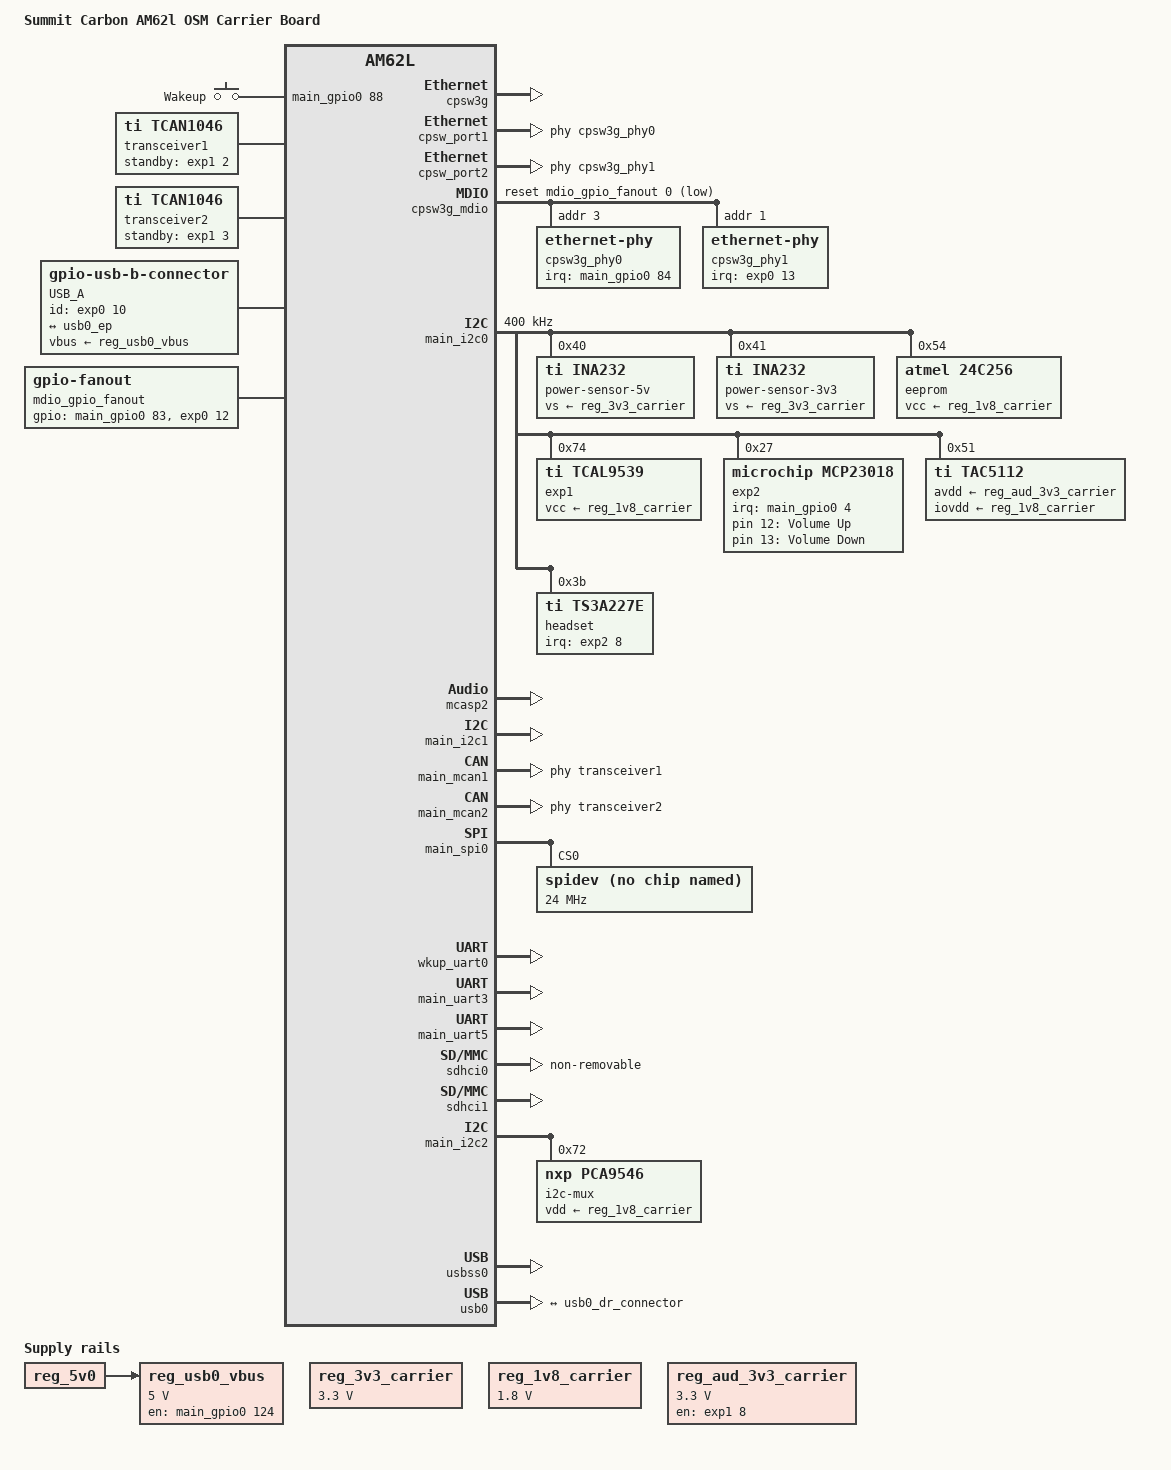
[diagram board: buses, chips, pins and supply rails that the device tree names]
// SPDX-License-Identifier: GPL-2.0-or-later OR MIT
/*
 * Copyright 2026 Ezurio LLC
 *
 */

/dts-v1/;

#include <dt-bindings/leds/common.h>
#include <dt-bindings/input/input.h>
#include <dt-bindings/net/ti-dp83867.h>

#include "k3-am62l-carbon-som.dtsi"

/ {
	model = "Summit Carbon AM62l OSM Carrier Board";
	compatible = "summit,carbon-am62l-dvk", "summit,carbon-am62l", "ti,am62l3";

	aliases {
		gpio4 = &exp1;
		gpio5 = &exp2;
	};

	reg_3v3_carrier: regulator-3v3-carrier {
		/* output 2 of U4 */
		compatible = "regulator-fixed";
		regulator-name = "reg_3v3_carrier";
		regulator-min-microvolt = <3300000>;
		regulator-max-microvolt = <3300000>;
		regulator-always-on;
		regulator-boot-on;
	};

	reg_1v8_carrier: regulator-1v8-carrier {
		/* output 3 of U4 */
		compatible = "regulator-fixed";
		regulator-name = "reg_1v8_carrier";
		regulator-min-microvolt = <1800000>;
		regulator-max-microvolt = <1800000>;
		regulator-always-on;
		regulator-boot-on;
	};

	reg_aud_3v3_carrier: regulator-aud-3v3-carrier {
		compatible = "regulator-fixed";
		regulator-name = "reg_aud_3v3_carrier";
		regulator-min-microvolt = <3300000>;
		regulator-max-microvolt = <3300000>;
		gpios = <&exp1 8 GPIO_ACTIVE_HIGH>;
		enable-active-high;
		regulator-always-on;
	};

	reg_usb0_vbus: regulator-usb0-vbus {
		compatible = "regulator-fixed";
		regulator-name = "reg_usb0_vbus";
		regulator-max-microvolt = <5000000>;
		regulator-min-microvolt = <5000000>;
		vin-supply = <&reg_5v0>;
		pinctrl-names = "default";
		pinctrl-0 = <&main_usb0_en_pins_default>;
		gpios = <&main_gpio0 124 GPIO_ACTIVE_HIGH>;
		enable-active-high;
	};

	codec_audio: sound {
		compatible = "simple-audio-card";

		simple-audio-card,bitclock-master = <&dailink0_master>;
		simple-audio-card,frame-master = <&dailink0_master>;

		simple-audio-card,name = "ti,tac5x1x-soundcard";
		simple-audio-card,format = "i2s";

		simple-audio-card,widgets =
			"Headphone", "Headphone Jack",
			"Line",      "Line In",
			"Line",      "Line Out";

		simple-audio-card,routing =
			"Headphone Jack", "OUT1",
			"Headphone Jack", "OUT2",
			"AIN1", "Line In",
			"AIN2", "Line In",
			"Line Out", "OUT1",
			"Line Out", "OUT2";

		simple-audio-card,aux-devs = <&headset>;

		dailink0_master: simple-audio-card,cpu {
			sound-dai = <&mcasp2>;
			bitclock-master;
			frame-master;
			system-clock-direction-out;
		};

		simple-audio-card,codec {
			sound-dai = <&tac5112>;
		};
	};

	dvk_keys {
		compatible = "gpio-keys";

		pinctrl-names = "default";
		pinctrl-0 = <&osm_gpio_a_7_pins_default>;

		volume-up {
			label = "Volume Up";
			interrupts-extended = <&exp2 12 IRQ_TYPE_EDGE_FALLING>;
			interrupt-names = "irq";
			linux,code = <KEY_VOLUMEUP>;

			//gpios = <&exp2 12 (GPIO_ACTIVE_LOW | GPIO_PULL_UP)>;
			//wakeup-event-action = <EV_ACT_ASSERTED>;
		};

		volume-down {
			label = "Volume Down";
			interrupts-extended = <&exp2 13 IRQ_TYPE_EDGE_FALLING>;
			interrupt-names = "irq";
			linux,code = <KEY_VOLUMEDOWN>;

			//gpios = <&exp2 13 (GPIO_ACTIVE_LOW | GPIO_PULL_UP)>;
			//wakeup-event-action = <EV_ACT_ASSERTED>;
		};

		wakeup {
			label = "Wakeup";
			interrupts-extended = <&main_gpio0 88 IRQ_TYPE_EDGE_FALLING>;
			interrupt-names = "irq";
			linux,code = <KEY_WAKEUP>;
			wakeup-source;

			//gpios = <&mcu_gpio0 1 GPIO_ACTIVE_LOW>;
			//wakeup-event-action = <EV_ACT_ASSERTED>;
		};
	};

	transceiver1: can-phy0 {
		compatible = "ti,tcan1046", "ti,tcan1042";
		#phy-cells = <0>;
		max-bitrate = <8000000>;
		standby-gpios = <&exp1 2 GPIO_ACTIVE_HIGH>; /* TCAN1046 STB is active HIGH */
	};

	transceiver2: can-phy1 {
		compatible = "ti,tcan1046", "ti,tcan1042";
		#phy-cells = <0>;
		max-bitrate = <8000000>;
		standby-gpios = <&exp1 3 GPIO_ACTIVE_HIGH>; /* TCAN1046 STB is active HIGH */
	};

	con_usb0: connector-usb0 {
		compatible = "gpio-usb-b-connector", "usb-c-connector";

		label = "USB_A";
		self-powered;

		id-gpios = <&exp0 10 GPIO_ACTIVE_HIGH>;

		vbus-supply = <&reg_usb0_vbus>;

		port {
			usb0_dr_connector: endpoint {
				remote-endpoint = <&usb0_ep>;
			};
		};
	};

	mdio_gpio_fanout: mdio-gpio-fanout {
		compatible = "gpio-fanout";
		gpio-controller;
		#gpio-cells = <2>;

		pinctrl-names = "default";
		pinctrl-0 = <&main_rgmii_phy0_rst_pins_default>;
		gpios = <&main_gpio0 83 GPIO_ACTIVE_HIGH>,
		        <&exp0 12 GPIO_ACTIVE_HIGH>;
	};
};

&cpsw3g {
	status = "okay";
};

&cpsw_port1 {
	status = "okay";
	phy-handle = <&cpsw3g_phy0>;
};

&cpsw_port2 {
	status = "okay";
	phy-handle = <&cpsw3g_phy1>;
};

&cpsw3g_mdio {
	status = "okay";

	reset-gpios = <&mdio_gpio_fanout 0 GPIO_ACTIVE_LOW>;
	/* longer to wait for io expander */
	reset-delay-us = <10000>;
	reset-post-delay-us = <20000>;

	cpsw3g_phy0: ethernet-phy@3 {
		reg = <3>;

		pinctrl-names = "default";
		pinctrl-0 = <&main_rgmii_phy0_irq_pins_default>;
		interrupts-extended = <&main_gpio0 84 IRQ_TYPE_EDGE_FALLING>;

		ti,rx-internal-delay = <DP83867_RGMIIDCTL_2_00_NS>;
		tx-fifo-depth = <DP83867_PHYCR_FIFO_DEPTH_4_B_NIB>;
		rx-fifo-depth = <DP83867_PHYCR_FIFO_DEPTH_4_B_NIB>;
		ti,clk-output-sel = <DP83867_CLK_O_SEL_OFF>;
	};

	cpsw3g_phy1: ethernet-phy@1 {
		reg = <1>;

		interrupts-extended = <&exp0 13 IRQ_TYPE_EDGE_FALLING>;

		ti,rx-internal-delay = <DP83867_RGMIIDCTL_2_00_NS>;
		tx-fifo-depth = <DP83867_PHYCR_FIFO_DEPTH_4_B_NIB>;
		rx-fifo-depth = <DP83867_PHYCR_FIFO_DEPTH_4_B_NIB>;
		ti,clk-output-sel = <DP83867_CLK_O_SEL_OFF>;
	};
};

&osm_gpio_a_3_pins_default {
	pinctrl-single,pins = <
		AM62LX_IOPAD(0x004c, PIN_INPUT_PULLUP, 7) /* GPIO_A_3 (D21) OSPI0_D1.GPIO0_4 */
	>;
};

&main_i2c0 { /* I2C_A */
	status = "okay";
	clock-frequency = <400000>;

	power-sensor-5v@40 {
		compatible = "ti,ina232"; /* TI, INA232AIDDFR */
		reg = <0x40>;
		vs-supply = <&reg_3v3_carrier>;
		shunt-resistor = <33000>; /* 0.033 Ohms */
	};

	power-sensor-3v3@41 {
		compatible = "ti,ina232"; /* TI, INA232AIDDFR */
		reg = <0x41>;
		vs-supply = <&reg_3v3_carrier>;
		shunt-resistor = <33000>; /* 0.033 Ohms */
	};

	eeprom@54 {
		/* U53, Giantec, GT24C256C-2GLI-TR */
		compatible = "atmel,24c256";
		reg = <0x54>;
		vcc-supply = <&reg_1v8_carrier>;
	};

	exp1: gpio@74 {
		/* U35, TI, TCAL9539RTWR */
		compatible = "ti,tcal9539", "nxp,pcal9535";
		reg = <0x74>;

		vcc-supply = <&reg_1v8_carrier>;

		#gpio-cells = <2>;
		gpio-controller;

		gpio-line-names = "USB_C_OEn_P00", "USB_D_OEn_P01",
			"CAN_A_STB", "CAN_B_STB",
			"M2_WDISABLE1#", "M2_WDISABLE2#",
			"CSI_PWR_CTL_A", "CSI_PWR_CTL_B",
			"AUD_PWR_EN", "M2_Vendor_DF38", "CSI_PWR_CTL_C",
			"CHGR_CE#", "M2_POWER_EN",
			"CSI_PWR_CTL_B", "SDIO_A_SEL", "NC";
	};

	exp2: gpio@27 {
		/* U21, Microchip, MCP23018 */
		compatible = "microchip,mcp23018";
		reg = <0x27>;
		#gpio-cells = <2>;
		gpio-controller;

		gpio-line-names =
			"DSI_A_INT", "DSI_A_HPD",
			"LVDS_D_INT", "LVDS_D_HPD",
			"LVDS_E_INT", "LVDS_E_HPD",
			"RGB_INT", "RGB_HDMI_HPD",
			"ACD_nINT", "M2_UART_WAKE",
			"M2_SD_HOST_WAKE", "CHRGR_INTn",
			"VOL_UP", "VOL_DOWN",
			"", "DSI_A_IRQ";

		pinctrl-names = "default";
		pinctrl-0 = <&osm_gpio_a_3_pins_default>;

		#interrupt-cells = <2>;
		interrupt-controller;
		microchip,irq-mirror;

		interrupts-extended = <&main_gpio0 4 IRQ_TYPE_EDGE_FALLING>;
		interrupt-names = "irq";
		//wakeup-source;
	};

	tac5112: audio-codec@51 {
		/* U19, TI, XTAC5112IRGER */
		#sound-dai-cells = <0>;
		compatible = "ti,tac5112";
		reg = <0x51>;

		ti,vref = <0>;  /* 2.75V */
		ti,micbias-vg = <0>; /* same as Vref */
		ti,gpios-func = <0>, <0>, <0>; /* GPIOx - Disable */
		ti,gpi1-func = <0>;

		avdd-supply = <&reg_aud_3v3_carrier>;
		iovdd-supply = <&reg_1v8_carrier>;
	};

	headset: ts3a227e@3b {
		/* U20, TI, TS3A227ERVAR */
		compatible = "ti,ts3a227e";
		reg = <0x3b>;

		interrupts-extended = <&exp2 8 IRQ_TYPE_EDGE_FALLING>;
		interrupt-names = "irq";
		ti,micbias = <6>; /* 2.7V, must match mic bias from codec */
	};
};

&mcasp2 {
	status = "okay";
};

&main_i2c1 { /* I2C_B */
	status = "okay";
};

&main_mcan1 { /* CAN_A */
	status = "okay";
	phys = <&transceiver1>;
};

&main_mcan2 { /* CAN_B */
	status = "okay";
	phys = <&transceiver2>;
};

&main_usb0_en_pins_default {
	pinctrl-single,pins = <
		AM62LX_IOPAD(0x244, PIN_INPUT, 7) /* USB_A_EN (C6) USB0_DRVVBUS.GPIO0_124 */
	>;
};

&osm_gpio_a_7_pins_default {
	pinctrl-single,pins = <
		AM62LX_IOPAD(0x01a4, PIN_INPUT_PULLUP, 7) /* GPIO_A_7 (D11) SPI0_CS1.GPIO0_88 */
	>;
};

&main_spi0 { /* SPI_B */
	status = "okay";

	spidev@0 {
		compatible = "rohm,dh2228fv";
		spi-max-frequency = <24000000>;
		reg = <0>;
	};
};

&wkup_uart0 { /* UART_C */
	status = "okay";
};

&main_uart3 { /* UART_D */
	status = "okay";
};

&main_uart5 { /* UART_A */
	status = "okay";
};

&reg_mmc1 {
	status = "okay";
};

&sdhci0 { /* SDIO_B eMMC */
	non-removable;
};

&sdhci1 { /* SDIO_A uSD / M.2_SDIO */
	status = "okay";
};

&main_i2c2 { /* I2C_C */
	status = "okay";

	i2c-mux@72 {
		compatible = "nxp,pca9546"; /* U22 TCA9546APWR */
		reg = <0x72>;

		vdd-supply = <&reg_1v8_carrier>;
		#address-cells = <1>;
		#size-cells = <0>;

		i2c_port_a: i2c-port-a@0 {
			reg = <0>;
			#address-cells = <1>;
			#size-cells = <0>;
		};

		i2c_port_d: i2c-port-d@1 {
			reg = <1>;
			#address-cells = <1>;
			#size-cells = <0>;
		};

		i2c_port_e: i2c-port-e@2 {
			reg = <2>;
			#address-cells = <1>;
			#size-cells = <0>;
		};

		i2c_port_rgb: i2c-port-rgb@3 {
			reg = <3>;
			#address-cells = <1>;
			#size-cells = <0>;
		};
	};
};

&usbss0 {
	status = "okay";
	ti,vbus-divider;
};

&usbss1 {
	ti,vbus-divider;
};

&usb0 {
	adp-disable;
	usb-role-switch;

	port {
		usb0_ep: endpoint {
			remote-endpoint = <&usb0_dr_connector>;
		};
	};
};

&usb1 {
	pinctrl-names = "default";
	pinctrl-0 = <&main_usb1_en_pins_default>;
};
